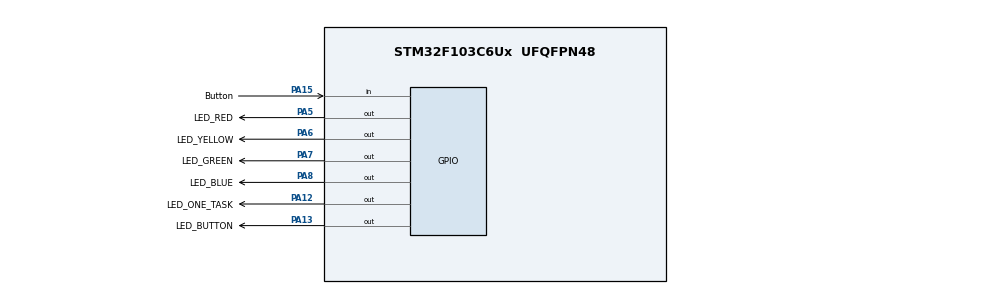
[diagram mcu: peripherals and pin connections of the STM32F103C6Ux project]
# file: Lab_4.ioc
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Mcu.Family=STM32F1
Mcu.Name=STM32F103C6Ux
Mcu.Package=UFQFPN48
NVIC.PriorityGroup=NVIC_PRIORITYGROUP_4
NVIC.TIM2_IRQn=true\:0\:0\:false\:false\:true\:true\:true
PA12.GPIO_Label=LED_ONE_TASK
PA12.Signal=GPIO_Output
PA13.GPIO_Label=LED_BUTTON
PA13.Signal=GPIO_Output
PA15.GPIO_Label=Button
PA15.GPIO_PuPd=GPIO_PULLUP
PA15.Signal=GPIO_Input
PA5.GPIO_Label=LED_RED
PA5.Signal=GPIO_Output
PA6.GPIO_Label=LED_YELLOW
PA6.Signal=GPIO_Output
PA7.GPIO_Label=LED_GREEN
PA7.Signal=GPIO_Output
PA8.GPIO_Label=LED_BLUE
PA8.Signal=GPIO_Output
ProjectManager.HeapSize=0x200
ProjectManager.StackSize=0x400
ProjectManager.TargetToolchain=STM32CubeIDE
RCC.APB1Freq_Value=8000000
RCC.APB2Freq_Value=8000000
TIM2.Period=9
TIM2.Prescaler=7999
VP_SYS_VS_ND.Mode=No_Debug
VP_TIM2_VS_ClockSourceINT.Mode=Internal
board=custom

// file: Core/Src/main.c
/* USER CODE BEGIN Header */
/**
  ******************************************************************************
  * @file           : main.c
  * @brief          : Main program body
  ******************************************************************************
  * @attention
  *
  * <h2><center>&copy; Copyright (c) 2022 STMicroelectronics.
  * All rights reserved.</center></h2>
  *
  * This software component is licensed by ST under BSD 3-Clause license,
  * the "License"; You may not use this file except in compliance with the
  * License. You may obtain a copy of the License at:
  *                        opensource.org/licenses/BSD-3-Clause
  *
  ******************************************************************************
  */
/* USER CODE END Header */
#include "main.h"

/* USER CODE BEGIN Includes */
#include "button.h"
#include "led_animation.h"
#include "scheduler.h"
/* USER CODE END Includes */

TIM_HandleTypeDef htim2;

void SystemClock_Config(void);
static void MX_GPIO_Init(void);
static void MX_TIM2_Init(void);

int main(void)
{

  /* MCU Configuration--------------------------------------------------------*/

  /* Reset of all peripherals, Initializes the Flash interface and the Systick. */
  HAL_Init();

  /* Configure the system clock */
  SystemClock_Config();

  /* Initialize all configured peripherals */
  MX_GPIO_Init();
  MX_TIM2_Init();
  /* USER CODE BEGIN 2 */
  HAL_TIM_Base_Start_IT(&htim2);

  SCH_Init();

  SCH_Add_Task(toggleLedRed, 500, 500); //task running periodically in 0.5 second
  SCH_Add_Task(toggleLedYellow, 1000, 1000); //task running periodically in 1 second
  SCH_Add_Task(toggleLedGreen, 1500, 1500); //task running periodically in 1.5 second
  SCH_Add_Task(toggleLedBlue, 2000, 2000); //task running periodically in 2 second

  SCH_Add_Task(toggleLedOneShot, 2500, 0); //task "one-shot" running periodically in 2.5 second
  SCH_Add_Task(toggleLedButton, 0, 100);
  SCH_Add_Task(getKeyInput, 0, 100);
  /* USER CODE END 2 */

  /* Infinite loop */
  while (1)
  {

    /* USER CODE BEGIN 3 */
	  SCH_Dispatch_Tasks();
  }
  /* USER CODE END 3 */
}

void SystemClock_Config(void)
{
  RCC_OscInitTypeDef RCC_OscInitStruct = {0};
  RCC_ClkInitTypeDef RCC_ClkInitStruct = {0};

  /** Initializes the RCC Oscillators according to the specified parameters
  * in the RCC_OscInitTypeDef structure.
  */
  RCC_OscInitStruct.OscillatorType = RCC_OSCILLATORTYPE_HSI;
  RCC_OscInitStruct.HSIState = RCC_HSI_ON;
  RCC_OscInitStruct.HSICalibrationValue = RCC_HSICALIBRATION_DEFAULT;
  RCC_OscInitStruct.PLL.PLLState = RCC_PLL_NONE;
  if (HAL_RCC_OscConfig(&RCC_OscInitStruct) != HAL_OK)
  {
    Error_Handler();
  }
  /** Initializes the CPU, AHB and APB buses clocks
  */
  RCC_ClkInitStruct.ClockType = RCC_CLOCKTYPE_HCLK|RCC_CLOCKTYPE_SYSCLK
                              |RCC_CLOCKTYPE_PCLK1|RCC_CLOCKTYPE_PCLK2;
  RCC_ClkInitStruct.SYSCLKSource = RCC_SYSCLKSOURCE_HSI;
  RCC_ClkInitStruct.AHBCLKDivider = RCC_SYSCLK_DIV1;
  RCC_ClkInitStruct.APB1CLKDivider = RCC_HCLK_DIV1;
  RCC_ClkInitStruct.APB2CLKDivider = RCC_HCLK_DIV1;

  if (HAL_RCC_ClockConfig(&RCC_ClkInitStruct, FLASH_LATENCY_0) != HAL_OK)
  {
    Error_Handler();
  }
}

static void MX_TIM2_Init(void)
{

  TIM_ClockConfigTypeDef sClockSourceConfig = {0};
  TIM_MasterConfigTypeDef sMasterConfig = {0};

  htim2.Instance = TIM2;
  htim2.Init.Prescaler = 7999;
  htim2.Init.CounterMode = TIM_COUNTERMODE_UP;
  htim2.Init.Period = 9;
  htim2.Init.ClockDivision = TIM_CLOCKDIVISION_DIV1;
  htim2.Init.AutoReloadPreload = TIM_AUTORELOAD_PRELOAD_DISABLE;
  if (HAL_TIM_Base_Init(&htim2) != HAL_OK)
  {
    Error_Handler();
  }
  sClockSourceConfig.ClockSource = TIM_CLOCKSOURCE_INTERNAL;
  if (HAL_TIM_ConfigClockSource(&htim2, &sClockSourceConfig) != HAL_OK)
  {
    Error_Handler();
  }
  sMasterConfig.MasterOutputTrigger = TIM_TRGO_RESET;
  sMasterConfig.MasterSlaveMode = TIM_MASTERSLAVEMODE_DISABLE;
  if (HAL_TIMEx_MasterConfigSynchronization(&htim2, &sMasterConfig) != HAL_OK)
  {
    Error_Handler();
  }
  /* USER CODE BEGIN TIM2_Init 2 */
  TICK = 1/ (8e6 / (htim2.Init.Prescaler + 1) / (htim2.Init.Period + 1)) * 1000;
  /* USER CODE END TIM2_Init 2 */

}

static void MX_GPIO_Init(void)
{
  GPIO_InitTypeDef GPIO_InitStruct = {0};

  /* GPIO Ports Clock Enable */
  __HAL_RCC_GPIOA_CLK_ENABLE();

  /*Configure GPIO pin Output Level */
  HAL_GPIO_WritePin(GPIOA, LED_RED_Pin|LED_YELLOW_Pin|LED_GREEN_Pin|LED_BLUE_Pin
                          |LED_ONE_TASK_Pin|LED_BUTTON_Pin, GPIO_PIN_RESET);

  /*Configure GPIO pins : LED_RED_Pin LED_YELLOW_Pin LED_GREEN_Pin LED_BLUE_Pin
                           LED_ONE_TASK_Pin LED_BUTTON_Pin */
  GPIO_InitStruct.Pin = LED_RED_Pin|LED_YELLOW_Pin|LED_GREEN_Pin|LED_BLUE_Pin
                          |LED_ONE_TASK_Pin|LED_BUTTON_Pin;
  GPIO_InitStruct.Mode = GPIO_MODE_OUTPUT_PP;
  GPIO_InitStruct.Pull = GPIO_NOPULL;
  GPIO_InitStruct.Speed = GPIO_SPEED_FREQ_LOW;
  HAL_GPIO_Init(GPIOA, &GPIO_InitStruct);

  /*Configure GPIO pin : Button_Pin */
  GPIO_InitStruct.Pin = Button_Pin;
  GPIO_InitStruct.Mode = GPIO_MODE_INPUT;
  GPIO_InitStruct.Pull = GPIO_PULLUP;
  HAL_GPIO_Init(Button_GPIO_Port, &GPIO_InitStruct);

}

/* USER CODE BEGIN 4 */
void HAL_TIM_PeriodElapsedCallback(TIM_HandleTypeDef *htim){
	SCH_Update();
	getKeyInput();
}
/* USER CODE END 4 */

void Error_Handler(void)
{
  __disable_irq();
  while (1)
  {
  }
}

/************************ (C) COPYRIGHT STMicroelectronics *****END OF FILE****/
